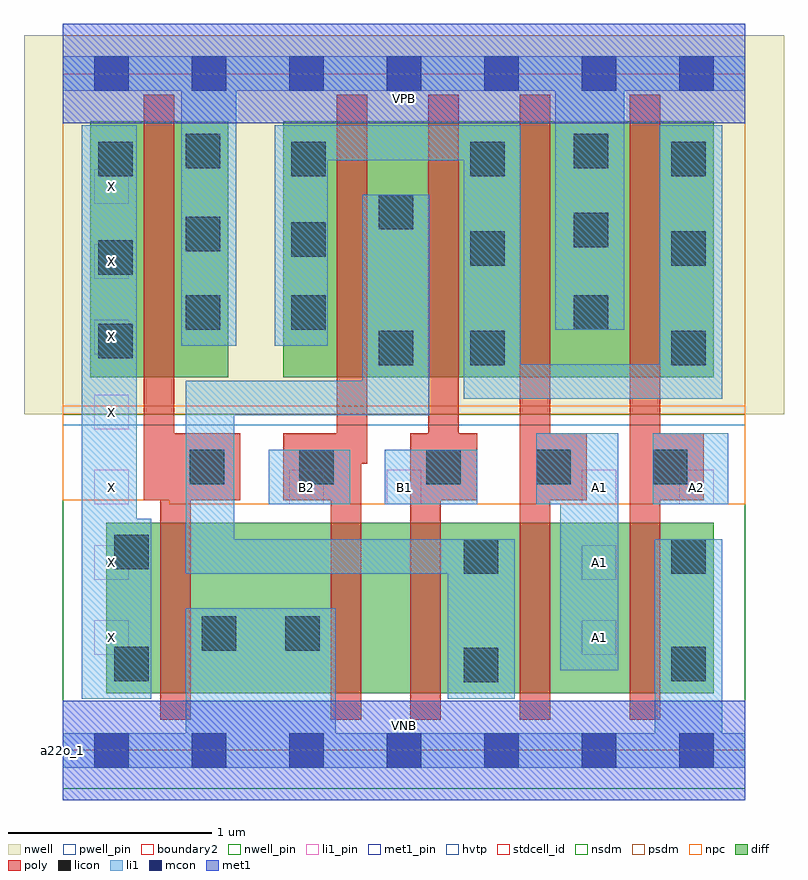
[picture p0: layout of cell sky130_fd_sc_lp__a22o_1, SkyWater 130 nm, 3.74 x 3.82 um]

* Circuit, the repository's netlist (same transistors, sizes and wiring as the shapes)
* Copyright 2020 The SkyWater PDK Authors
*
* Licensed under the Apache License, Version 2.0 (the "License");
* you may not use this file except in compliance with the License.
* You may obtain a copy of the License at
*
*     https://www.apache.org/licenses/LICENSE-2.0
*
* Unless required by applicable law or agreed to in writing, software
* distributed under the License is distributed on an "AS IS" BASIS,
* WITHOUT WARRANTIES OR CONDITIONS OF ANY KIND, either express or implied.
* See the License for the specific language governing permissions and
* limitations under the License.
*
* SPDX-License-Identifier: Apache-2.0

.SUBCKT sky130_fd_sc_lp__a22o_1 A1 A2 B1 B2 VGND VNB VPB VPWR X
*.PININFO A1:I A2:I B1:I B2:I VGND:I VNB:I VPB:I VPWR:I X:O
MMPA0 pndA A1 VPWR VPB sky130_fd_pr__pfet_01v8_hvt m=1 w=1.26U l=0.15U mult=1 sa=0.265
+ sb=0.265 sd=0.28 area=0.063 perim=1.14
MMPA1 pndA A2 VPWR VPB sky130_fd_pr__pfet_01v8_hvt m=1 w=1.26U l=0.15U mult=1 sa=0.265
+ sb=0.265 sd=0.28 area=0.063 perim=1.14
MMPB0 y B1 pndA VPB sky130_fd_pr__pfet_01v8_hvt m=1 w=1.26U l=0.15U mult=1 sa=0.265
+ sb=0.265 sd=0.28 area=0.063 perim=1.14
MMPB1 y B2 pndA VPB sky130_fd_pr__pfet_01v8_hvt m=1 w=1.26U l=0.15U mult=1 sa=0.265
+ sb=0.265 sd=0.28 area=0.063 perim=1.14
MMIPX X y VPWR VPB sky130_fd_pr__pfet_01v8_hvt m=1 w=1.26U l=0.15U mult=1 sa=0.265
+ sb=0.265 sd=0.28 area=0.063 perim=1.14
MMNA0 y A1 sndA1 VNB sky130_fd_pr__nfet_01v8 m=1 w=0.84U l=0.15U mult=1 sa=0.265
+ sb=0.265 sd=0.28 area=0.063 perim=1.14
MMNA1 sndA1 A2 VGND VNB sky130_fd_pr__nfet_01v8 m=1 w=0.84U l=0.15U mult=1 sa=0.265
+ sb=0.265 sd=0.28 area=0.063 perim=1.14
MMNB0 y B1 sndB1 VNB sky130_fd_pr__nfet_01v8 m=1 w=0.84U l=0.15U mult=1 sa=0.265
+ sb=0.265 sd=0.28 area=0.063 perim=1.14
MMNB1 sndB1 B2 VGND VNB sky130_fd_pr__nfet_01v8 m=1 w=0.84U l=0.15U mult=1 sa=0.265
+ sb=0.265 sd=0.28 area=0.063 perim=1.14
MMINX X y VGND VNB sky130_fd_pr__nfet_01v8 m=1 w=0.84U l=0.15U mult=1 sa=0.265
+ sb=0.265 sd=0.28 area=0.063 perim=1.14
.ENDS sky130_fd_sc_lp__a22o_1

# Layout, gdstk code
import gdstk
lib = gdstk.Library(unit=1e-6, precision=1e-09)
def R(c, l, rs):  # rectangles x0, y0, x1, y1
    for r in rs: c.add(gdstk.rectangle(r[:2], r[2:], *l))
def A(c, l, x, y, w, h, nx, ny, dx, dy):  # array of equal rectangles
    R(c, l, [(x+i*dx, y+j*dy, x+i*dx+w, y+j*dy+h) for i in range(nx) for j in range(ny)])
def P(c, l, *ps):  # polygons
    for p in ps: c.add(gdstk.Polygon(p, *l))
nwell_pin = (64, 16)
nwell = (64, 20)
diff = (65, 20)
poly = (66, 20)
licon = (66, 44)
li1_pin = (67, 16)
li1 = (67, 20)
mcon = (67, 44)
met1_pin = (68, 16)
met1 = (68, 20)
hvtp = (78, 44)
stdcell_id = (81, 4)
nsdm = (93, 44)
psdm = (94, 20)
npc = (95, 20)
pwell_pin = (122, 16)
boundary2 = (236, 0)

sky130_fd_sc_lp__a22o_1 = lib.new_cell('sky130_fd_sc_lp__a22o_1')
R(sky130_fd_sc_lp__a22o_1, nwell_pin, [(0,3.085,3.36,3.33)])
R(sky130_fd_sc_lp__a22o_1, nwell, [(-0.19,1.655,3.55,3.52)])
R(sky130_fd_sc_lp__a22o_1, diff, [(0.215,0.28,3.205,1.12), (0.135,1.835,0.815,3.095), (1.085,1.835,3.205,3.095)])
P(sky130_fd_sc_lp__a22o_1, poly, [(0.875,1.56),(0.55,1.56),(0.55,3.225),(0.4,3.225),(0.4,1.23),(0.48,1.23),(0.48,0.15),(0.63,0.15),(0.63,1.23),(0.875,1.23)],
  [(1.5,3.225),(1.35,3.225),(1.35,1.56),(1.085,1.56),(1.085,1.23),(1.32,1.23),(1.32,0.15),(1.47,0.15),(1.47,1.41),(1.5,1.41)],
  [(2.04,1.56),(1.95,1.56),(1.95,3.225),(1.8,3.225),(1.8,1.56),(1.71,1.56),(1.71,0.15),(1.86,0.15),(1.86,1.23),(2.04,1.23)],
  [(2.58,1.56),(2.4,1.56),(2.4,3.225),(2.25,3.225),(2.25,0.15),(2.4,0.15),(2.4,1.23),(2.58,1.23)],
  [(3.155,1.56),(2.94,1.56),(2.94,3.225),(2.79,3.225),(2.79,0.15),(2.94,0.15),(2.94,1.23),(3.155,1.23)])
R(sky130_fd_sc_lp__a22o_1, licon, [(1.975,0.335,2.145,0.505), (0.255,0.34,0.425,0.51), (2.995,0.34,3.165,0.51), (0.685,0.49,0.855,0.66), (1.095,0.49,1.265,0.66), (1.975,0.87,2.145,1.04), (2.995,0.87,3.165,1.04), (0.255,0.89,0.425,1.06), (0.625,1.31,0.795,1.48), (1.165,1.31,1.335,1.48), (1.79,1.31,1.96,1.48), (2.33,1.31,2.5,1.48), (2.905,1.31,3.075,1.48), (1.555,1.895,1.725,2.065), (2.005,1.895,2.175,2.065), (2.995,1.895,3.165,2.065), (0.175,1.93,0.345,2.1), (0.605,2.07,0.775,2.24), (1.125,2.07,1.295,2.24), (2.515,2.07,2.685,2.24), (0.175,2.34,0.345,2.51), (2.005,2.385,2.175,2.555), (2.995,2.385,3.165,2.555), (1.125,2.43,1.295,2.6), (0.605,2.455,0.775,2.625), (2.515,2.475,2.685,2.645), (1.555,2.565,1.725,2.735), (0.175,2.825,0.345,2.995), (1.125,2.825,1.295,2.995), (2.005,2.825,2.175,2.995), (2.995,2.825,3.165,2.995), (0.605,2.865,0.775,3.035), (2.515,2.865,2.685,3.035)])
A(sky130_fd_sc_lp__a22o_1, li1_pin, 0.155, 0.47, 0.17, 0.17, 1, 7, 0, 0.37)
A(sky130_fd_sc_lp__a22o_1, li1_pin, 2.555, 0.47, 0.17, 0.17, 1, 3, 0, 0.37)
R(sky130_fd_sc_lp__a22o_1, li1_pin, [(1.115,1.21,1.285,1.38), (1.595,1.21,1.765,1.38), (3.035,1.21,3.205,1.38)])
R(sky130_fd_sc_lp__a22o_1, li1, [(1.015,1.21,1.415,1.48), (1.585,1.21,2.04,1.48), (2.905,1.21,3.275,1.56)])
P(sky130_fd_sc_lp__a22o_1, li1, [(0.585,1.99),(0.585,3.245),(0,3.245),(0,3.415),(3.36,3.415),(3.36,3.245),(2.765,3.245),(2.765,2.07),(2.425,2.07),(2.425,3.245),(0.855,3.245),(0.855,1.99)],
  [(2.915,0.085),(2.915,1.04),(3.245,1.04),(3.245,0.085),(3.36,0.085),(3.36,-0.085),(0,-0.085),(0,0.085),(0.605,0.085),(0.605,0.7),(1.345,0.7),(1.345,0.085)],
  [(2.735,1.56),(2.33,1.56),(2.33,1.21),(2.45,1.21),(2.45,0.395),(2.735,0.395)],
  [(0.095,3.075),(0.365,3.075),(0.365,1.14),(0.435,1.14),(0.435,0.255),(0.095,0.255)],
  [(2.255,1.9),(2.935,1.9),(2.935,3.075),(3.245,3.075),(3.245,1.73),(1.975,1.73),(1.975,2.905),(1.305,2.905),(1.305,1.99),(1.045,1.99),(1.045,3.075),(2.255,3.075)],
  [(0.605,1.82),(1.475,1.82),(1.475,2.735),(1.805,2.735),(1.805,1.65),(0.845,1.65),(0.845,1.04),(2.225,1.04),(2.225,0.255),(1.895,0.255),(1.895,0.87),(0.605,0.87)])
A(sky130_fd_sc_lp__a22o_1, mcon, 0.155, -0.085, 0.17, 0.17, 7, 2, 0.48, 3.33)
R(sky130_fd_sc_lp__a22o_1, met1_pin, [(0,0,3.36,0.245), (0,3.085,3.36,3.33)])
R(sky130_fd_sc_lp__a22o_1, met1, [(0,-0.245,3.36,0.245), (0,3.085,3.36,3.575)])
R(sky130_fd_sc_lp__a22o_1, hvtp, [(0,1.6,3.36,3.33)])
R(sky130_fd_sc_lp__a22o_1, stdcell_id, [(0,0,3.36,3.33)])
R(sky130_fd_sc_lp__a22o_1, nsdm, [(0,-0.19,3.36,1.655)])
R(sky130_fd_sc_lp__a22o_1, psdm, [(0,1.655,3.36,3.52)])
P(sky130_fd_sc_lp__a22o_1, npc, [(3.36,1.695),(0,1.695),(0,1.23),(0.525,1.23),(0.525,1.21),(3.36,1.21)])
R(sky130_fd_sc_lp__a22o_1, pwell_pin, [(0,0,3.36,0.245)])
R(sky130_fd_sc_lp__a22o_1, boundary2, [(0,0,3.36,3.33)])
sky130_fd_sc_lp__a22o_1.add(gdstk.Label('VNB', (1.68,0.123), layer=64, texttype=59))
sky130_fd_sc_lp__a22o_1.add(gdstk.Label('VPB', (1.68,3.208), layer=64, texttype=5))
sky130_fd_sc_lp__a22o_1.add(gdstk.Label('a22o_1', (0,0), layer=83, texttype=44))
sky130_fd_sc_lp__a22o_1.add(gdstk.Label('VPWR', (1.68,3.208), layer=68, texttype=5))
sky130_fd_sc_lp__a22o_1.add(gdstk.Label('VGND', (1.68,0.123), layer=68, texttype=5))
sky130_fd_sc_lp__a22o_1.add(gdstk.Label('A1', (2.64,0.555), layer=67, texttype=5))
sky130_fd_sc_lp__a22o_1.add(gdstk.Label('A1', (2.64,0.925), layer=67, texttype=5))
sky130_fd_sc_lp__a22o_1.add(gdstk.Label('A1', (2.64,1.295), layer=67, texttype=5))
sky130_fd_sc_lp__a22o_1.add(gdstk.Label('B1', (1.68,1.295), layer=67, texttype=5))
sky130_fd_sc_lp__a22o_1.add(gdstk.Label('X', (0.24,0.555), layer=67, texttype=5))
sky130_fd_sc_lp__a22o_1.add(gdstk.Label('X', (0.24,0.925), layer=67, texttype=5))
sky130_fd_sc_lp__a22o_1.add(gdstk.Label('X', (0.24,1.295), layer=67, texttype=5))
sky130_fd_sc_lp__a22o_1.add(gdstk.Label('X', (0.24,1.665), layer=67, texttype=5))
sky130_fd_sc_lp__a22o_1.add(gdstk.Label('X', (0.24,2.035), layer=67, texttype=5))
sky130_fd_sc_lp__a22o_1.add(gdstk.Label('X', (0.24,2.405), layer=67, texttype=5))
sky130_fd_sc_lp__a22o_1.add(gdstk.Label('X', (0.24,2.775), layer=67, texttype=5))
sky130_fd_sc_lp__a22o_1.add(gdstk.Label('A2', (3.12,1.295), layer=67, texttype=5))
sky130_fd_sc_lp__a22o_1.add(gdstk.Label('B2', (1.2,1.295), layer=67, texttype=5))

lib.write_gds('sky130_fd_sc_lp__a22o_1.gds')
